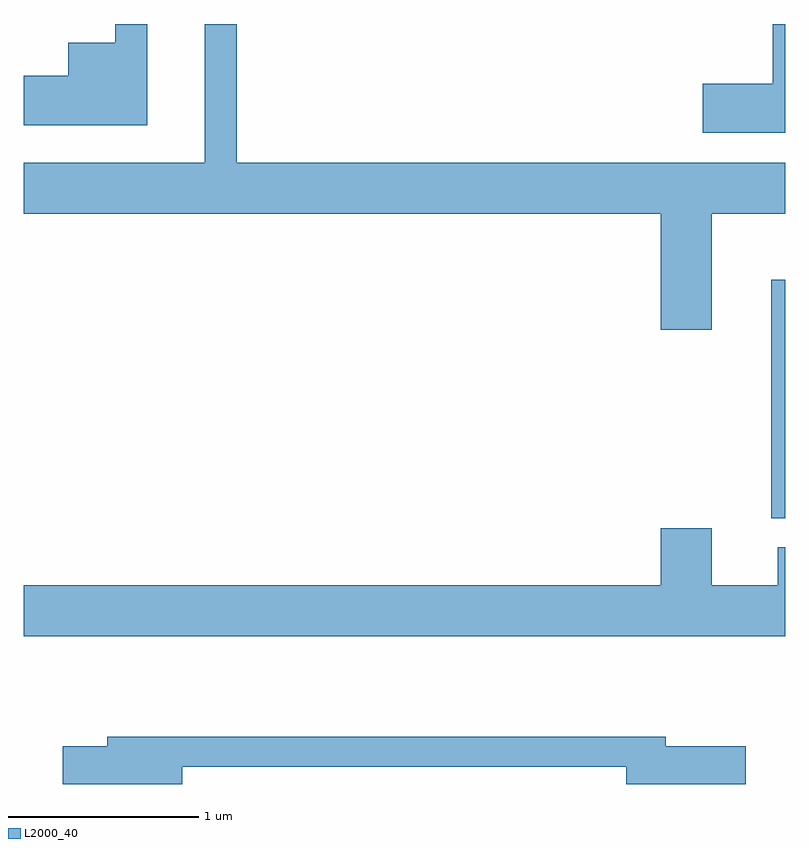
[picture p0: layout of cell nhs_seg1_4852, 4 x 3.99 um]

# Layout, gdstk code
import gdstk
lib = gdstk.Library(unit=1e-6, precision=1e-09)
def R(c, l, rs):  # rectangles x0, y0, x1, y1
    for r in rs: c.add(gdstk.rectangle(r[:2], r[2:], *l))
def P(c, l, *ps):  # polygons
    for p in ps: c.add(gdstk.Polygon(p, *l))
L2000_40 = (2000, 40)

nhs_seg1_4852 = lib.new_cell('nhs_seg1_4852')
R(nhs_seg1_4852, L2000_40, [(335.536,869.116,335.611,870.369)])
P(nhs_seg1_4852, L2000_40, [(335.224,870.716),(335.611,870.716),(335.611,870.984),(332.729,870.984),(332.729,871.712),(332.561,871.712),(332.561,870.984),(331.611,870.984),(331.611,870.716),(334.956,870.716),(334.956,870.106),(335.224,870.106)],
  [(332.259,871.712),(332.091,871.712),(332.091,871.614),(331.846,871.614),(331.846,871.439),(331.611,871.439),(331.611,871.181),(332.259,871.181)],
  [(335.611,871.712),(335.546,871.712),(335.546,871.399),(335.176,871.399),(335.176,871.141),(335.611,871.141)],
  [(335.611,868.964),(335.571,868.964),(335.571,868.764),(335.224,868.764),(335.224,869.064),(334.956,869.064),(334.956,868.764),(331.611,868.764),(331.611,868.496),(335.611,868.496)],
  [(332.444,867.811),(334.776,867.811),(334.776,867.721),(335.404,867.721),(335.404,867.919),(334.984,867.919),(334.984,867.969),(332.051,867.969),(332.051,867.919),(331.816,867.919),(331.816,867.721),(332.444,867.721)])

lib.write_gds('nhs_seg1_4852.gds')
